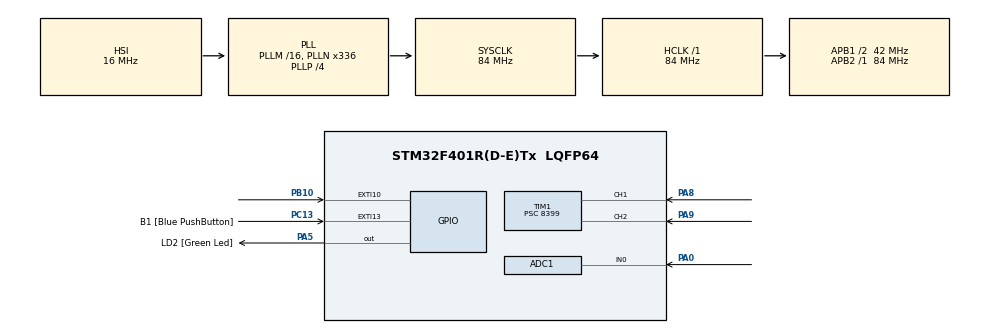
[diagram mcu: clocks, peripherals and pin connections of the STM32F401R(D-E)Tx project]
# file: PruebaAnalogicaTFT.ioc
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ADC1.Channel-1\#ChannelRegularConversion=ADC_CHANNEL_0
ADC1.ContinuousConvMode=ENABLE
ADC1.DMAContinuousRequests=ENABLE
ADC1.NbrOfConversion=1
ADC1.NbrOfConversionFlag=1
ADC1.Rank-1\#ChannelRegularConversion=1
ADC1.SamplingTime-1\#ChannelRegularConversion=ADC_SAMPLETIME_3CYCLES
ADC1.master=1
Dma.ADC1.0.Direction=DMA_PERIPH_TO_MEMORY
Dma.ADC1.0.FIFOMode=DMA_FIFOMODE_DISABLE
Dma.ADC1.0.Instance=DMA2_Stream0
Dma.ADC1.0.MemDataAlignment=DMA_MDATAALIGN_HALFWORD
Dma.ADC1.0.MemInc=DMA_MINC_ENABLE
Dma.ADC1.0.Mode=DMA_CIRCULAR
Dma.ADC1.0.PeriphDataAlignment=DMA_PDATAALIGN_HALFWORD
Dma.ADC1.0.PeriphInc=DMA_PINC_DISABLE
Dma.ADC1.0.Priority=DMA_PRIORITY_LOW
Dma.Request0=ADC1
Mcu.Family=STM32F4
Mcu.Name=STM32F401R(D-E)Tx
Mcu.Package=LQFP64
NVIC.ADC_IRQn=true\:0\:0\:false\:false\:true\:true\:true\:true
NVIC.DMA2_Stream0_IRQn=true\:0\:0\:false\:false\:true\:false\:true\:true
NVIC.EXTI15_10_IRQn=true\:1\:0\:true\:false\:true\:true\:true\:true
NVIC.PriorityGroup=NVIC_PRIORITYGROUP_4
NVIC.TIM1_CC_IRQn=true\:0\:0\:false\:false\:true\:true\:true\:true
PA0-WKUP.Signal=ADCx_IN0
PA13.GPIO_Label=TMS
PA13.Mode=Serial_Wire
PA13.Signal=SYS_JTMS-SWDIO
PA14.GPIO_Label=TCK
PA14.Mode=Serial_Wire
PA14.Signal=SYS_JTCK-SWCLK
PA5.GPIO_Label=LD2 [Green Led]
PA5.GPIO_Mode=GPIO_MODE_OUTPUT_PP
PA5.GPIO_PuPd=GPIO_NOPULL
PA5.GPIO_Speed=GPIO_SPEED_FREQ_LOW
PA5.Signal=GPIO_Output
PA8.Signal=S_TIM1_CH1
PA9.Signal=S_TIM1_CH2
PB10.GPIO_ModeDefaultEXTI=GPIO_MODE_IT_RISING
PB10.Signal=GPXTI10
PB3.GPIO_Label=SWO
PB3.Signal=SYS_JTDO-SWO
PC13-ANTI_TAMP.GPIO_Label=B1 [Blue PushButton]
PC13-ANTI_TAMP.GPIO_ModeDefaultEXTI=GPIO_MODE_IT_FALLING
PC13-ANTI_TAMP.GPIO_PuPd=GPIO_NOPULL
PC13-ANTI_TAMP.Signal=GPXTI13
PC14-OSC32_IN.Mode=LSE-External-Oscillator
PC14-OSC32_IN.Signal=RCC_OSC32_IN
PC15-OSC32_OUT.Mode=LSE-External-Oscillator
PC15-OSC32_OUT.Signal=RCC_OSC32_OUT
PH0\ -\ OSC_IN.Mode=HSE-External-Clock-Source
PH0\ -\ OSC_IN.Signal=RCC_OSC_IN
PH1\ -\ OSC_OUT.Mode=HSE-External-Clock-Source
PH1\ -\ OSC_OUT.Signal=RCC_OSC_OUT
ProjectManager.HeapSize=0x200
ProjectManager.StackSize=0x400
ProjectManager.TargetToolchain=STM32CubeIDE
RCC.48MHZClocksFreq_Value=48000000
RCC.AHBFreq_Value=84000000
RCC.APB1CLKDivider=RCC_HCLK_DIV2
RCC.APB1Freq_Value=42000000
RCC.APB1TimFreq_Value=84000000
RCC.APB2Freq_Value=84000000
RCC.APB2TimFreq_Value=84000000
RCC.CortexFreq_Value=84000000
RCC.HCLKFreq_Value=84000000
RCC.HSE_VALUE=8000000
RCC.HSI_VALUE=16000000
RCC.PLLN=336
RCC.PLLP=RCC_PLLP_DIV4
RCC.PLLQ=7
RCC.SYSCLKFreq_VALUE=84000000
RCC.SYSCLKSource=RCC_SYSCLKSOURCE_PLLCLK
RCC.VCOOutputFreq_Value=336000000
SH.ADCx_IN0.0=ADC1_IN0,IN0
SH.S_TIM1_CH1.0=TIM1_CH1,Input_Capture1_from_TI1
SH.S_TIM1_CH2.0=TIM1_CH2,Input_Capture2_from_TI2
TIM1.Channel-Input_Capture1_from_TI1=TIM_CHANNEL_1
TIM1.Channel-Input_Capture2_from_TI2=TIM_CHANNEL_2
TIM1.ClockDivision=TIM_CLOCKDIVISION_DIV4
TIM1.ICFilter_CH1=15
TIM1.ICFilter_CH2=15
TIM1.Prescaler=8399
VP_TIM1_VS_ClockSourceINT.Mode=Internal
board=NUCLEO-F401RE

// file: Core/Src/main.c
/* USER CODE BEGIN Header */
/**
  ******************************************************************************
  * @file           : main.c
  * @brief          : Main program body
  ******************************************************************************
  * @attention
  *
  * Copyright (c) 2022 STMicroelectronics.
  * All rights reserved.
  *
  * This software is licensed under terms that can be found in the LICENSE file
  * in the root directory of this software component.
  * If no LICENSE file comes with this software, it is provided AS-IS.
  *
  ******************************************************************************
  */
/* USER CODE END Header */
#include "main.h"

ADC_HandleTypeDef hadc1;
DMA_HandleTypeDef hdma_adc1;

TIM_HandleTypeDef htim1;

/* USER CODE BEGIN PV */
uint16_t adc_ch0[10];
uint8_t conversions = 0;
uint16_t cuenta_promedio=0;
//uint32_t Vpeak;

uint32_t count = 0;

uint32_t pulsos;

uint32_t pulsos_raw;
uint32_t frecuencia = 0;
uint32_t frecuencia_raw = 0;
uint8_t flag_deb=0;
uint8_t estado_actual= 0;
uint8_t estado_anterior = 0;

uint8_t pin = 0;

uint16_t errores = 0;

//RTOS

/* USER CODE END PV */

void SystemClock_Config(void);
static void MX_GPIO_Init(void);
static void MX_DMA_Init(void);
static void MX_ADC1_Init(void);
static void MX_TIM1_Init(void);
/* USER CODE BEGIN PFP */
void TaskDebounce(void* pvParameters);
void Taskjeje(void* pvParameters);

/* USER CODE END PFP */

int main(void)
{

  /* MCU Configuration--------------------------------------------------------*/

  /* Reset of all peripherals, Initializes the Flash interface and the Systick. */
  HAL_Init();

  /* Configure the system clock */
  SystemClock_Config();

  /* Initialize all configured peripherals */
  MX_GPIO_Init();
  MX_DMA_Init();
  MX_ADC1_Init();
  MX_TIM1_Init();
  /* USER CODE BEGIN 2 */
  //HAL_ADC_Start_DMA(&hadc1, adc_ch0,sizeof(adc_ch0));
  //HAL_TIM_Base_Start_IT(&htim2);
 // HAL_TIM_IC_Start_IT(&htim2, TIM_CHANNEL_2);
  HAL_TIM_IC_Start_IT(&htim1, TIM_CHANNEL_1);
  HAL_TIM_IC_Start_IT(&htim1, TIM_CHANNEL_2);
  //HAL_TIM_Base_Start_IT(&htim5);

  /* USER CODE END 2 */

  /* Infinite loop */
  while (1)
  {

  }
}

void SystemClock_Config(void)
{
  RCC_OscInitTypeDef RCC_OscInitStruct = {0};
  RCC_ClkInitTypeDef RCC_ClkInitStruct = {0};

  /** Configure the main internal regulator output voltage
  */
  __HAL_RCC_PWR_CLK_ENABLE();
  __HAL_PWR_VOLTAGESCALING_CONFIG(PWR_REGULATOR_VOLTAGE_SCALE2);

  /** Initializes the RCC Oscillators according to the specified parameters
  * in the RCC_OscInitTypeDef structure.
  */
  RCC_OscInitStruct.OscillatorType = RCC_OSCILLATORTYPE_HSI;
  RCC_OscInitStruct.HSIState = RCC_HSI_ON;
  RCC_OscInitStruct.HSICalibrationValue = RCC_HSICALIBRATION_DEFAULT;
  RCC_OscInitStruct.PLL.PLLState = RCC_PLL_ON;
  RCC_OscInitStruct.PLL.PLLSource = RCC_PLLSOURCE_HSI;
  RCC_OscInitStruct.PLL.PLLM = 16;
  RCC_OscInitStruct.PLL.PLLN = 336;
  RCC_OscInitStruct.PLL.PLLP = RCC_PLLP_DIV4;
  RCC_OscInitStruct.PLL.PLLQ = 7;
  if (HAL_RCC_OscConfig(&RCC_OscInitStruct) != HAL_OK)
  {
    Error_Handler();
  }

  /** Initializes the CPU, AHB and APB buses clocks
  */
  RCC_ClkInitStruct.ClockType = RCC_CLOCKTYPE_HCLK|RCC_CLOCKTYPE_SYSCLK
                              |RCC_CLOCKTYPE_PCLK1|RCC_CLOCKTYPE_PCLK2;
  RCC_ClkInitStruct.SYSCLKSource = RCC_SYSCLKSOURCE_PLLCLK;
  RCC_ClkInitStruct.AHBCLKDivider = RCC_SYSCLK_DIV1;
  RCC_ClkInitStruct.APB1CLKDivider = RCC_HCLK_DIV2;
  RCC_ClkInitStruct.APB2CLKDivider = RCC_HCLK_DIV1;

  if (HAL_RCC_ClockConfig(&RCC_ClkInitStruct, FLASH_LATENCY_2) != HAL_OK)
  {
    Error_Handler();
  }
}

static void MX_ADC1_Init(void)
{

  ADC_ChannelConfTypeDef sConfig = {0};

  /** Configure the global features of the ADC (Clock, Resolution, Data Alignment and number of conversion)
  */
  hadc1.Instance = ADC1;
  hadc1.Init.ClockPrescaler = ADC_CLOCK_SYNC_PCLK_DIV4;
  hadc1.Init.Resolution = ADC_RESOLUTION_12B;
  hadc1.Init.ScanConvMode = DISABLE;
  hadc1.Init.ContinuousConvMode = ENABLE;
  hadc1.Init.DiscontinuousConvMode = DISABLE;
  hadc1.Init.ExternalTrigConvEdge = ADC_EXTERNALTRIGCONVEDGE_NONE;
  hadc1.Init.ExternalTrigConv = ADC_SOFTWARE_START;
  hadc1.Init.DataAlign = ADC_DATAALIGN_RIGHT;
  hadc1.Init.NbrOfConversion = 1;
  hadc1.Init.DMAContinuousRequests = ENABLE;
  hadc1.Init.EOCSelection = ADC_EOC_SINGLE_CONV;
  if (HAL_ADC_Init(&hadc1) != HAL_OK)
  {
    Error_Handler();
  }

  /** Configure for the selected ADC regular channel its corresponding rank in the sequencer and its sample time.
  */
  sConfig.Channel = ADC_CHANNEL_0;
  sConfig.Rank = 1;
  sConfig.SamplingTime = ADC_SAMPLETIME_3CYCLES;
  if (HAL_ADC_ConfigChannel(&hadc1, &sConfig) != HAL_OK)
  {
    Error_Handler();
  }

}

static void MX_TIM1_Init(void)
{

  TIM_ClockConfigTypeDef sClockSourceConfig = {0};
  TIM_MasterConfigTypeDef sMasterConfig = {0};
  TIM_IC_InitTypeDef sConfigIC = {0};

  htim1.Instance = TIM1;
  htim1.Init.Prescaler = 8399;
  htim1.Init.CounterMode = TIM_COUNTERMODE_UP;
  htim1.Init.Period = 65535;
  htim1.Init.ClockDivision = TIM_CLOCKDIVISION_DIV4;
  htim1.Init.RepetitionCounter = 0;
  htim1.Init.AutoReloadPreload = TIM_AUTORELOAD_PRELOAD_DISABLE;
  if (HAL_TIM_Base_Init(&htim1) != HAL_OK)
  {
    Error_Handler();
  }
  sClockSourceConfig.ClockSource = TIM_CLOCKSOURCE_INTERNAL;
  if (HAL_TIM_ConfigClockSource(&htim1, &sClockSourceConfig) != HAL_OK)
  {
    Error_Handler();
  }
  if (HAL_TIM_IC_Init(&htim1) != HAL_OK)
  {
    Error_Handler();
  }
  sMasterConfig.MasterOutputTrigger = TIM_TRGO_RESET;
  sMasterConfig.MasterSlaveMode = TIM_MASTERSLAVEMODE_DISABLE;
  if (HAL_TIMEx_MasterConfigSynchronization(&htim1, &sMasterConfig) != HAL_OK)
  {
    Error_Handler();
  }
  sConfigIC.ICPolarity = TIM_INPUTCHANNELPOLARITY_RISING;
  sConfigIC.ICSelection = TIM_ICSELECTION_DIRECTTI;
  sConfigIC.ICPrescaler = TIM_ICPSC_DIV1;
  sConfigIC.ICFilter = 15;
  if (HAL_TIM_IC_ConfigChannel(&htim1, &sConfigIC, TIM_CHANNEL_1) != HAL_OK)
  {
    Error_Handler();
  }
  if (HAL_TIM_IC_ConfigChannel(&htim1, &sConfigIC, TIM_CHANNEL_2) != HAL_OK)
  {
    Error_Handler();
  }

}

static void MX_DMA_Init(void)
{

  /* DMA controller clock enable */
  __HAL_RCC_DMA2_CLK_ENABLE();

  /* DMA interrupt init */
  /* DMA2_Stream0_IRQn interrupt configuration */
  HAL_NVIC_SetPriority(DMA2_Stream0_IRQn, 0, 0);
  HAL_NVIC_EnableIRQ(DMA2_Stream0_IRQn);

}

static void MX_GPIO_Init(void)
{
  GPIO_InitTypeDef GPIO_InitStruct = {0};

  /* GPIO Ports Clock Enable */
  __HAL_RCC_GPIOC_CLK_ENABLE();
  __HAL_RCC_GPIOH_CLK_ENABLE();
  __HAL_RCC_GPIOA_CLK_ENABLE();
  __HAL_RCC_GPIOB_CLK_ENABLE();

  /*Configure GPIO pin Output Level */
  HAL_GPIO_WritePin(LD2_GPIO_Port, LD2_Pin, GPIO_PIN_RESET);

  /*Configure GPIO pin : B1_Pin */
  GPIO_InitStruct.Pin = B1_Pin;
  GPIO_InitStruct.Mode = GPIO_MODE_IT_FALLING;
  GPIO_InitStruct.Pull = GPIO_NOPULL;
  HAL_GPIO_Init(B1_GPIO_Port, &GPIO_InitStruct);

  /*Configure GPIO pin : LD2_Pin */
  GPIO_InitStruct.Pin = LD2_Pin;
  GPIO_InitStruct.Mode = GPIO_MODE_OUTPUT_PP;
  GPIO_InitStruct.Pull = GPIO_NOPULL;
  GPIO_InitStruct.Speed = GPIO_SPEED_FREQ_LOW;
  HAL_GPIO_Init(LD2_GPIO_Port, &GPIO_InitStruct);

  /*Configure GPIO pin : PB10 */
  GPIO_InitStruct.Pin = GPIO_PIN_10;
  GPIO_InitStruct.Mode = GPIO_MODE_IT_RISING;
  GPIO_InitStruct.Pull = GPIO_NOPULL;
  HAL_GPIO_Init(GPIOB, &GPIO_InitStruct);

  /* EXTI interrupt init*/
  HAL_NVIC_SetPriority(EXTI15_10_IRQn, 1, 0);
  HAL_NVIC_EnableIRQ(EXTI15_10_IRQn);

}

/* USER CODE BEGIN 4 */

void HAL_ADC_ConvCpltCallback(ADC_HandleTypeDef* hadc)
{
	float Vpeak=0;

	conversions++;

	if (conversions == 10)
	{
		conversions = 0;
		cuenta_promedio=0;
		for(uint8_t i =0;i<10;i++)

			cuenta_promedio+=adc_ch0[i];
		cuenta_promedio/=10;
		Vpeak =((float)cuenta_promedio*33)/40950;
	}

}

uint32_t IC_Val1 = 0;
uint32_t IC_Val2 = 0;
float Difference = 0;
int First_Captured = 0;

float pulso = 0;

/* Measure Frequency */
float frequency = 0;

void HAL_TIM_IC_CaptureCallback(TIM_HandleTypeDef *htim)
{
	if (htim->Channel == HAL_TIM_ACTIVE_CHANNEL_1)
	{

		if (First_Captured == 0) // first rising edge
		{
			IC_Val1 = HAL_TIM_ReadCapturedValue(htim, TIM_CHANNEL_1); // read the first value
			First_Captured = 1;  // set the first captured as true
			pulsos++;
			//flag_deb = 1;
		}
	}

	if(htim->Channel == HAL_TIM_ACTIVE_CHANNEL_2)
	{
		if (First_Captured)	//Si el primer flanco del canal 2 ya fue capturado
		{

			IC_Val2 = HAL_TIM_ReadCapturedValue(htim, TIM_CHANNEL_2); // read the first value

			if (IC_Val2 > IC_Val1)
			{
				Difference = IC_Val2-IC_Val1;
			}

			else if (IC_Val1 > IC_Val2)
			{
				Difference = (0xffff - IC_Val1) + IC_Val2;
			}

			pulso = ((float)Difference )/ 10;
			__HAL_TIM_SET_COUNTER(htim, 0);  // reset the counter
			First_Captured = 0; // set it back to false
			//flag_deb = 1;

		}
	}
}
//
//void HAL_TIM_PeriodElapsedCallback(TIM_HandleTypeDef *htim)
//{
//  /* USER CODE BEGIN Callback 0 */
//
//  /* USER CODE END Callback 0 */
//
//  /* USER CODE BEGIN Callback 1 */
//  if (htim->Instance == TIM2)
//  {
//	  if(estado_actual_CH1==1)
//	  {
//		  count_CH1++;
//		  if(count_CH1>=2)
//		  {
//			  count_CH1=0;
//			  debounce_ok_CH1=1;
//		  }
//
//	  }
//	  if(estado_actual_CH2==1)
//	  {
//		  count_CH2++;
//		  if(count_CH2>=2)
//		  {
//				count_CH2=0;
//				debounce_ok_CH2=1;
//				if (IC_Val2 > IC_Val1)
//				{
//				Difference = IC_Val2-IC_Val1;
//				}
//
//				else if (IC_Val1 > IC_Val2)
//				{
//				Difference = (0xffffffff - IC_Val1) + IC_Val2;
//				}
//
//				pulso = ((float)Difference )/ 84;
//				__HAL_TIM_SET_COUNTER(htim, 0);  // reset the counter
//				First_Captured = 0; // set it back to false
//		  }
//
//	  }
//  }

  /* USER CODE END Callback 1 */
//}

/* USER CODE END 4 */

void Error_Handler(void)
{
  __disable_irq();
  while (1)
  {
  }
}
